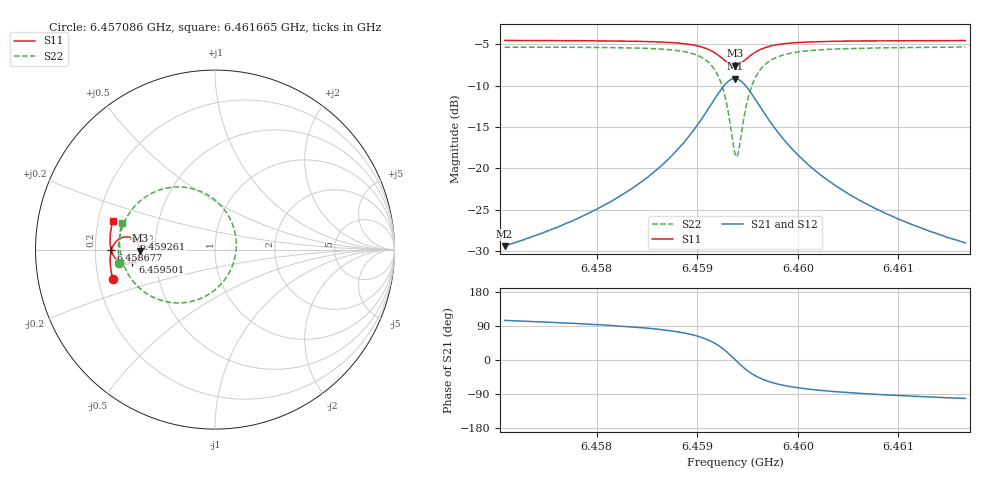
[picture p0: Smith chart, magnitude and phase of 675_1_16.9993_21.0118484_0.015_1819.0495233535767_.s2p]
#  HZ  S  RI  R  50.00
! Rohde & Schwarz Vector Network Analyzer
! Rohde-Schwarz,ZNB20-2Port,1311601062101988,3.16
! Created: UTC 3/20/2024, 11:22:19 PM
! freq[Hz]  re:S11  im:S11  re:S21  im:S21  re:S12  im:S12  re:S22  im:S22
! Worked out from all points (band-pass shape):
!   401 points, 6.457086 GHz to 6.461665 GHz, reference 50 ohm
!   highest |S21| = -9.15 dB at 6.459376 GHz (marker M1); lowest = -29.4 dB at 6.457086 GHz (marker M2)
!   |S21| within 3 dB of the highest: 6.459145 GHz to 6.459603 GHz (458.1 kHz wide, 0.00709 % of centre)
!   lowest |S11| = -7.6 dB at 6.459376 GHz (marker M3), VSWR 2.43, Z = 20.6 - j0.278 ohm
!   |S11| at or under -10 dB: nowhere
!   |S22| runs from -18.6 to -5.3 dB; largest |S21 - S12| = 0.014
!   S11 on the Smith chart (normalised r, x): 6.457086 GHz: 0.26, -0.13; 6.458677 GHz: 0.27, -0.00; 6.459261 GHz: 0.38, +0.06; 6.459501 GHz: 0.37, -0.07; 6.461665 GHz: 0.26, +0.13
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6.457086e9  -0.5693 -0.1633  -0.00839 0.0328  -0.00671 0.0329  -0.534 -0.0756
6.457853e9  -0.5821 -0.0958  -0.00488 0.051  -0.00233 0.0502  -0.5379 0.0148
6.4582537e9  -0.5843 -0.0557  0.00109 0.0692  0.00422 0.0678  -0.5295 0.0782
6.45862e9  -0.5799 -0.0121  0.0158 0.0995  0.0199 0.0967  -0.5016 0.1602
6.4586772e9  -0.578 -0.00411  0.0204 0.1063  0.0245 0.1032  -0.4932 0.1769
6.4588833e9  -0.5642 0.0279  0.0488 0.1388  0.053 0.1338  -0.4395 0.2495
6.4590321e9  -0.5409 0.0539  0.0954 0.169  0.0986 0.1622  -0.3535 0.3134
6.4591695e9  -0.4961 0.0707  0.1842 0.1838  0.1853 0.1765  -0.1907 0.3489
6.459261e9  -0.4513 0.059  0.2747 0.1501  0.2753 0.1439  -0.0228 0.2931
6.4593297e9  -0.4227 0.0259  0.3339 0.0756  0.3364 0.0696  0.0903 0.1581
6.4593755e9  -0.4166 -0.00558  0.3485 0.0066  0.3522 -0.00132  0.1188 0.0286
6.459387e9  -0.4174 -0.0137  0.3477 -0.0112  0.3517 -0.0199  0.1172 -0.00531
6.4594099e9  -0.4213 -0.0295  0.3411 -0.0459  0.3449 -0.0562  0.1037 -0.0713
6.4594556e9  -0.4378 -0.0552  0.3109 -0.1055  0.3124 -0.1181  0.042 -0.1831
6.4595014e9  -0.4602 -0.071  0.2674 -0.1454  0.2659 -0.1593  -0.0457 -0.2556
6.459593e9  -0.504 -0.0769  0.1818 -0.1746  0.175 -0.1862  -0.216 -0.2971
6.4597418e9  -0.5475 -0.0555  0.0942 -0.159  0.0851 -0.165  -0.3825 -0.2438
6.4599021e9  -0.5687 -0.0276  0.0497 -0.1304  0.0417 -0.1329  -0.4616 -0.1701
6.4601425e9  -0.581 0.00816  0.0209 -0.0982  0.0151 -0.0985  -0.5084 -0.0866
6.4605088e9  -0.585 0.0516  0.00473 -0.0695  0.000601 -0.069  -0.5293 -0.00279
6.4609095e9  -0.5824 0.0918  -0.00223 -0.0523  -0.00507 -0.0512  -0.532 0.0612
6.461665e9  -0.5695 0.1586  -0.00704 -0.0347  -0.00875 -0.0338  -0.5194 0.1509
